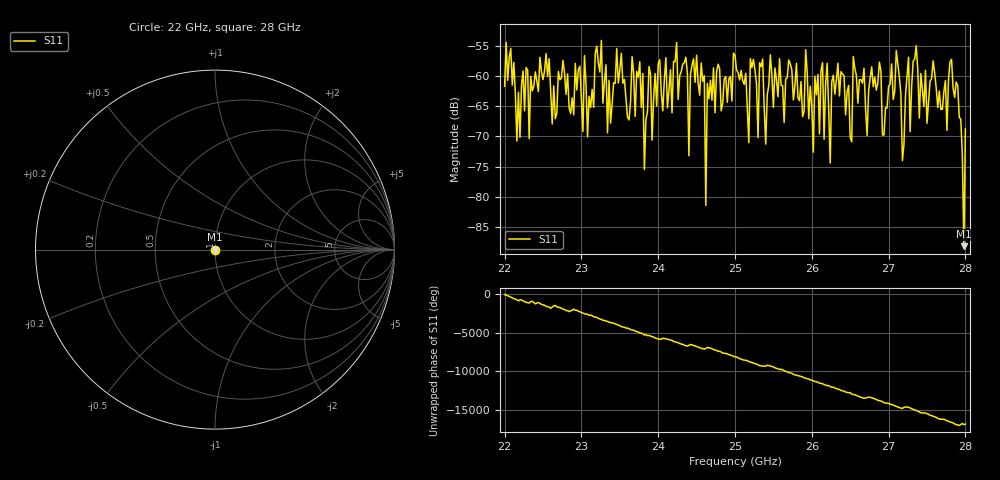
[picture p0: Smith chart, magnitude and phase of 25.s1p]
#  HZ  S  RI  R  50.00
! Rohde & Schwarz ZVA40 4Ports - Version 3.90 - 1145.1110k42 SN: 100403
! Date: 2023-10-04 11:36:47
! Measurement: S12
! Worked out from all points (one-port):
!   301 points, 22 GHz to 28 GHz, reference 50 ohm
!   lowest |S11| = -88.2 dB at 27.98 GHz (marker M1), VSWR 1.00, Z = 50 + j0.000286 ohm
!   |S11| at or under -10 dB: start of sweep to end of sweep
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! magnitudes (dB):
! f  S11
! 22 GHz  -61.7
! 22.76 GHz  -57.4
! 23.5 GHz  -59.1
! 23.8 GHz  -59.6
! 23.82 GHz  -75.5
! 23.88 GHz  -58.5
! 24.26 GHz  -63.9
! 24.36 GHz  -56.9
! 24.4 GHz  -73.2
! 24.56 GHz  -57.9
! 24.6 GHz  -60.0
! 24.62 GHz  -81.4
! 24.64 GHz  -61.2
! 25 GHz  -56.6
! 25.18 GHz  -71.1
! 25.2 GHz  -57.1
! 25.76 GHz  -64.0
! 26.5 GHz  -70.2
! 26.54 GHz  -56.8
! 26.94 GHz  -69.8
! 27.1 GHz  -55.8
! 27.18 GHz  -74.0
! 27.26 GHz  -56.9
! 27.28 GHz  -69.2
! 27.36 GHz  -55.0
! 27.82 GHz  -57.3
! 27.98 GHz  -88.2
! 28 GHz  -68.8
